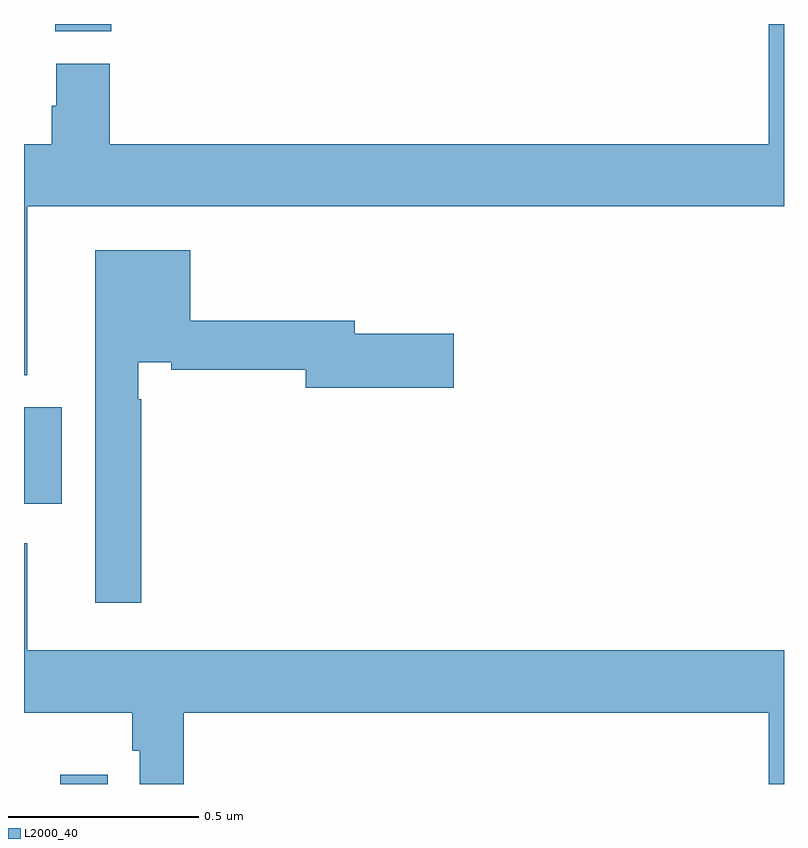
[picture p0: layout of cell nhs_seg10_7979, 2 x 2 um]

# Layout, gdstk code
import gdstk
lib = gdstk.Library(unit=1e-6, precision=1e-09)
def R(c, l, rs):  # rectangles x0, y0, x1, y1
    for r in rs: c.add(gdstk.rectangle(r[:2], r[2:], *l))
def P(c, l, *ps):  # polygons
    for p in ps: c.add(gdstk.Polygon(p, *l))
L2000_40 = (2000, 40)

nhs_seg10_7979 = lib.new_cell('nhs_seg10_7979')
R(nhs_seg10_7979, L2000_40, [(211.095,1261.5,211.22,1261.525), (211,1262.237,211.099,1262.491), (211.082,1263.481,211.229,1263.5)])
P(nhs_seg10_7979, L2000_40, [(211.009,1263.02),(213,1263.02),(213,1263.5),(212.96,1263.5),(212.96,1263.184),(211.226,1263.184),(211.226,1263.396),(211.085,1263.396),(211.085,1263.285),(211.073,1263.285),(211.073,1263.184),(211,1263.184),(211,1262.576),(211.009,1262.576)],
  [(211.309,1262.513),(211.301,1262.513),(211.301,1262.61),(211.387,1262.61),(211.387,1262.59),(211.742,1262.59),(211.742,1262.543),(212.131,1262.543),(212.131,1262.685),(211.87,1262.685),(211.87,1262.719),(211.438,1262.719),(211.438,1262.905),(211.187,1262.905),(211.187,1261.977),(211.309,1261.977)],
  [(211.421,1261.688),(212.96,1261.688),(212.96,1261.5),(213,1261.5),(213,1261.852),(211.009,1261.852),(211.009,1262.134),(211,1262.134),(211,1261.688),(211.285,1261.688),(211.285,1261.587),(211.305,1261.587),(211.305,1261.5),(211.421,1261.5)])

lib.write_gds('nhs_seg10_7979.gds')
